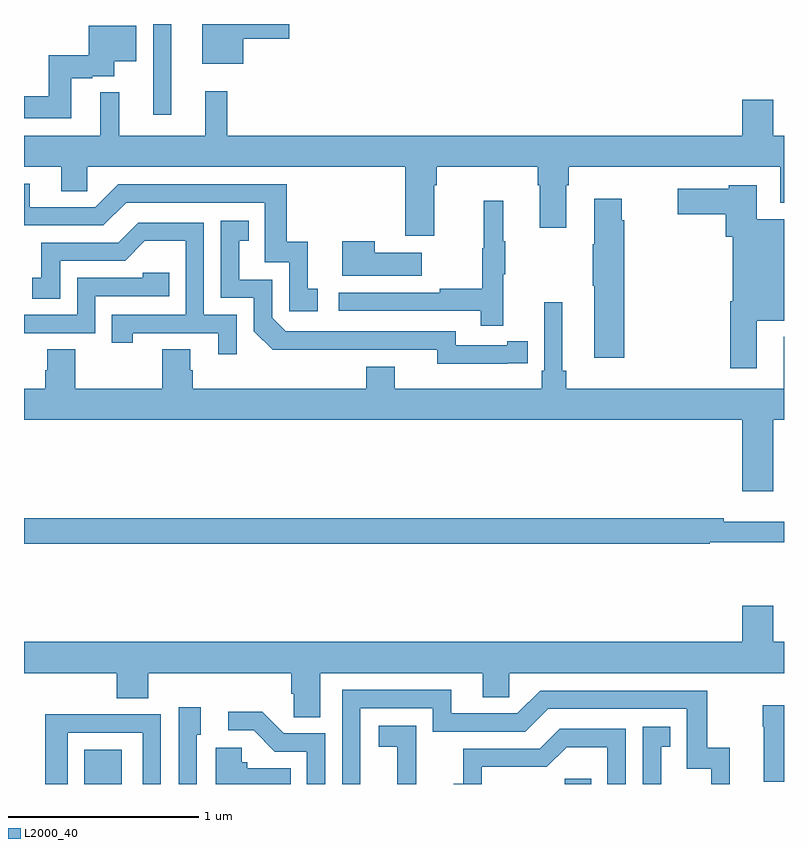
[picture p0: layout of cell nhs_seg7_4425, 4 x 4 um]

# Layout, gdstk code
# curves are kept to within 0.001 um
import gdstk
lib = gdstk.Library(unit=1e-6, precision=1e-09)
def R(c, l, rs):  # rectangles x0, y0, x1, y1
    for r in rs: c.add(gdstk.rectangle(r[:2], r[2:], *l))
def P(c, l, *ps):  # polygons
    for p in ps: c.add(gdstk.Polygon(p, *l))
L2000_40 = (2000, 40)

nhs_seg7_4425 = lib.new_cell('nhs_seg7_4425')
R(nhs_seg7_4425, L2000_40, [(389.318,1032,389.515,1032.181), (391.845,1032,391.985,1032.027), (389.679,1035.522,389.776,1036)])
P(nhs_seg7_4425, L2000_40, [(390.154,1035.923),(390.397,1035.923),(390.397,1036),(389.939,1036),(389.939,1035.791),(390.154,1035.791)],
  [(389.248,1035.714),(389.358,1035.714),(389.358,1035.726),(389.476,1035.726),(389.476,1035.803),(389.59,1035.803),(389.59,1035.991),(389.342,1035.991),(389.342,1035.835),(389.131,1035.835),(389.131,1035.62),(389,1035.62),(389,1035.504),(389.248,1035.504)],
  [(391.159,1035.152),(391.172,1035.152),(391.172,1035.248),(391.703,1035.248),(391.703,1035.152),(391.715,1035.152),(391.715,1034.928),(391.855,1034.928),(391.855,1035.152),(391.868,1035.152),(391.868,1035.248),(392.981,1035.248),(392.981,1035.058),(393,1035.058),(393,1035.412),(392.944,1035.412),(392.944,1035.601),(392.78,1035.601),(392.78,1035.412),(390.071,1035.412),(390.071,1035.646),(389.954,1035.646),(389.954,1035.412),(389.501,1035.412),(389.501,1035.641),(389.402,1035.641),(389.402,1035.412),(389,1035.412),(389,1035.248),(389.195,1035.248),(389.195,1035.121),(389.334,1035.121),(389.334,1035.248),(391.007,1035.248),(391.007,1034.886),(391.159,1034.886)],
  [(390.547,1034.607),(390.494,1034.607),(390.494,1034.853),(390.383,1034.853),(390.383,1035.156),(389.496,1035.156),(389.376,1035.036),(389.029,1035.036),(389.029,1035.159),(389,1035.159),(389,1034.94),(389.418,1034.94),(389.538,1035.06),(390.267,1035.06),(390.267,1034.745),(390.396,1034.745),(390.396,1034.487),(390.547,1034.487)],
  [(392.857,1034.438),(393,1034.438),(393,1034.973),(392.857,1034.973),(392.857,1035.151),(392.709,1035.151),(392.709,1035.133),(392.442,1035.133),(392.442,1034.999),(392.693,1034.999),(392.693,1034.88),(392.729,1034.88),(392.729,1034.542),(392.717,1034.542),(392.717,1034.187),(392.857,1034.187)],
  [(392.159,1034.966),(392.146,1034.966),(392.146,1035.079),(392,1035.079),(392,1034.84),(391.993,1034.84),(391.993,1034.623),(392,1034.623),(392,1034.244),(392.159,1034.244)],
  [(391.523,1034.683),(391.534,1034.683),(391.534,1034.857),(391.523,1034.857),(391.523,1035.07),(391.42,1035.07),(391.42,1034.82),(391.413,1034.82),(391.413,1034.606),(391.189,1034.606),(391.189,1034.586),(390.657,1034.586),(390.657,1034.49),(391.405,1034.49),(391.405,1034.412),(391.523,1034.412)],
  [(391.544,1034.214),(391.652,1034.214),(391.652,1034.33),(391.544,1034.33),(391.544,1034.31),(391.272,1034.31),(391.272,1034.382),(390.378,1034.382),(390.306,1034.454),(390.306,1034.655),(390.133,1034.655),(390.133,1034.859),(390.182,1034.859),(390.182,1034.965),(390.036,1034.965),(390.036,1034.559),(390.21,1034.559),(390.21,1034.382),(390.308,1034.285),(391.176,1034.286),(391.176,1034.213)],
  [(390.12,1034.469),(389.946,1034.469),(389.946,1034.955),(389.6,1034.955),(389.495,1034.85),(389.092,1034.85),(389.092,1034.665),(389.043,1034.665),(389.043,1034.555),(389.19,1034.555),(389.19,1034.754),(389.532,1034.754),(389.636,1034.858),(389.85,1034.858),(389.85,1034.469),(389.461,1034.469),(389.461,1034.322),(389.572,1034.322),(389.572,1034.373),(390.023,1034.373),(390.023,1034.262),(390.12,1034.262)],
  [(391.093,1034.797),(390.845,1034.797),(390.845,1034.857),(390.674,1034.857),(390.674,1034.675),(391.093,1034.675)],
  [(389.376,1034.568),(389.765,1034.568),(389.765,1034.691),(389.625,1034.691),(389.625,1034.664),(389.28,1034.664),(389.28,1034.469),(389,1034.469),(389,1034.373),(389.376,1034.373)],
  [(392.944,1033.916),(393,1033.916),(393,1034.353),(392.999,1034.353),(392.999,1034.08),(391.853,1034.08),(391.853,1034.176),(391.834,1034.176),(391.834,1034.536),(391.737,1034.536),(391.737,1034.176),(391.724,1034.176),(391.724,1034.08),(390.952,1034.08),(390.952,1034.197),(390.8,1034.197),(390.8,1034.08),(389.888,1034.08),(389.888,1034.178),(389.875,1034.178),(389.875,1034.288),(389.728,1034.288),(389.728,1034.08),(389.271,1034.08),(389.271,1034.288),(389.123,1034.288),(389.123,1034.178),(389.111,1034.178),(389.111,1034.08),(389,1034.08),(389,1033.916),(392.78,1033.916),(392.78,1033.542),(392.944,1033.542)],
  [(392.608,1033.272),(393,1033.272),(393,1033.381),(392.684,1033.381),(392.684,1033.4),(389,1033.4),(389,1033.264),(392.608,1033.264)],
  [(390.559,1032.584),(391.415,1032.584),(391.415,1032.457),(391.554,1032.457),(391.554,1032.584),(393,1032.584),(393,1032.748),(392.944,1032.748),(392.944,1032.937),(392.78,1032.937),(392.78,1032.748),(389,1032.748),(389,1032.584),(389.489,1032.584),(389.489,1032.451),(389.654,1032.451),(389.654,1032.584),(390.407,1032.584),(390.407,1032.475),(390.42,1032.475),(390.42,1032.352),(390.559,1032.352)],
  [(390.771,1032.399),(391.152,1032.399),(391.152,1032.276),(391.638,1032.276),(391.758,1032.396),(392.487,1032.396),(392.487,1032.081),(392.616,1032.081),(392.616,1032),(392.714,1032),(392.714,1032.19),(392.596,1032.19),(392.596,1032.492),(391.716,1032.492),(391.596,1032.372),(391.249,1032.372),(391.249,1032.495),(390.675,1032.495),(390.675,1032),(390.771,1032)],
  [(393,1032.415),(392.887,1032.415),(392.887,1032.302),(392.894,1032.302),(392.894,1032.011),(393,1032.011)],
  [(389.91,1032.258),(389.929,1032.258),(389.929,1032.403),(389.814,1032.403),(389.814,1032),(389.91,1032)],
  [(390.585,1032.267),(390.366,1032.267),(390.253,1032.38),(390.075,1032.38),(390.075,1032.282),(390.209,1032.282),(390.32,1032.171),(390.489,1032.171),(390.489,1032),(390.585,1032)],
  [(389.229,1032.27),(389.625,1032.27),(389.625,1032),(389.721,1032),(389.721,1032.366),(389.405,1032.366),(389.405,1032.368),(389.113,1032.368),(389.113,1032),(389.229,1032)],
  [(391.064,1032.101),(391.065,1032.101),(391.065,1032.307),(390.867,1032.307),(390.867,1032.197),(390.965,1032.197),(390.965,1032),(391.064,1032)],
  [(392.353,1032.195),(392.402,1032.195),(392.402,1032.301),(392.256,1032.301),(392.256,1032),(392.353,1032)],
  [(391.41,1032.09),(391.752,1032.09),(391.856,1032.194),(392.07,1032.194),(392.07,1032),(392.166,1032),(392.166,1032.291),(391.82,1032.291),(391.715,1032.186),(391.312,1032.186),(391.312,1032.001),(391.263,1032),(391.41,1032)],
  [(390.404,1032.082),(390.174,1032.082),(390.174,1032.114),(390.147,1032.114),(390.147,1032.19),(390.008,1032.19),(390.008,1032),(390.404,1032)])

lib.write_gds('nhs_seg7_4425.gds')
